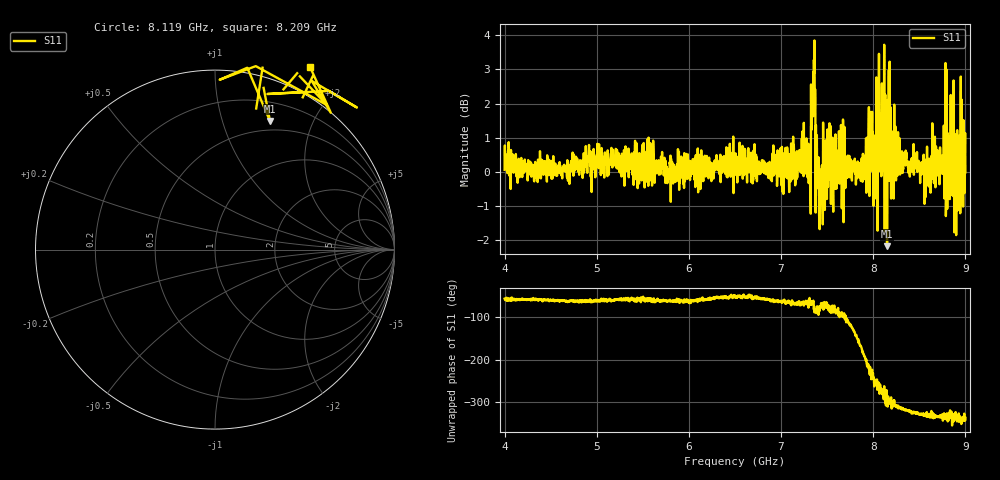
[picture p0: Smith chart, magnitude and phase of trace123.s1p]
! Created with skrf 1.8.0 (http://scikit-rf.org).
# Hz S RI R 50.0
!freq ReS11 ImS11
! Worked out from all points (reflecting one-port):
!   1601 points, 4 GHz to 9 GHz, reference 50 ohm
!   lowest |S11| = -2.2 dB at 8.15 GHz (marker M1), VSWR 8.06, Z = 19.7 + j72 ohm
!   phase of S11 starts at -56 deg and turns -281 deg over the sweep
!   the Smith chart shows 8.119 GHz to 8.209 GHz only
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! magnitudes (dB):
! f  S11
! 4 GHz  0.1
! 4.625 GHz  -0.2
! 5.25 GHz  0.0
! 5.875 GHz  0.1
! 6.5 GHz  0.2
! 7.125 GHz  0.3
! 7.297 GHz  0.7
! 7.35 GHz  2.9
! 7.375 GHz  -1.2
! 7.4 GHz  0.3
! 7.428 GHz  0.0
! 7.512 GHz  0.5
! 7.566 GHz  -1.2
! 7.662 GHz  -0.1
! 7.75 GHz  0.1
! 7.878 GHz  -0.1
! 7.962 GHz  1.8
! 8.022 GHz  0.2
! 8.106 GHz  0.1
! 8.15 GHz  -2.2
! 8.181 GHz  0.9
! 8.209 GHz  1.2
! 8.375 GHz  0.3
! 8.578 GHz  -0.4
! 8.822 GHz  1.0
! 8.903 GHz  0.8
! 8.972 GHz  0.6
! 9 GHz  0.0
